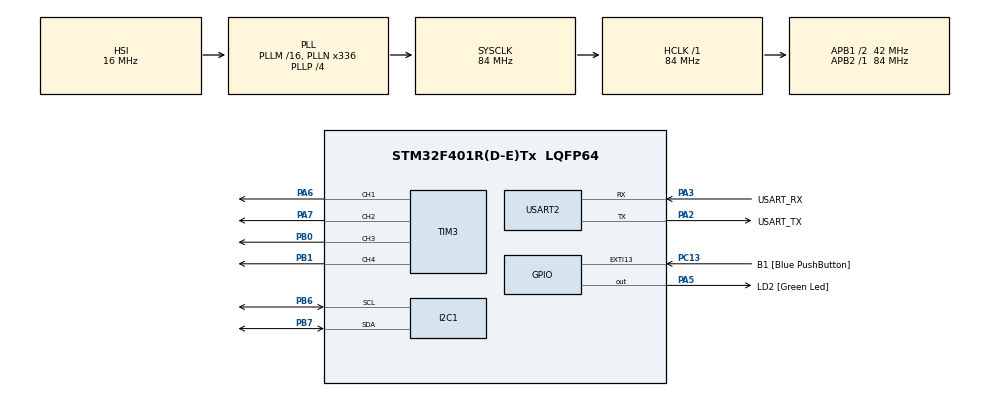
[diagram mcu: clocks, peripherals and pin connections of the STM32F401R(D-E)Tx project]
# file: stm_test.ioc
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I2C1.I2C_Mode=I2C_Fast
I2C1.NoStretchMode=I2C_NOSTRETCH_ENABLE
I2C1.OwnAddress=54
Mcu.Family=STM32F4
Mcu.Name=STM32F401R(D-E)Tx
Mcu.Package=LQFP64
NVIC.I2C1_ER_IRQn=true\:0\:0\:false\:false\:true\:true\:true\:true
NVIC.I2C1_EV_IRQn=true\:1\:0\:true\:false\:true\:true\:true\:true
NVIC.PriorityGroup=NVIC_PRIORITYGROUP_4
PA13.GPIO_Label=TMS
PA13.Mode=Trace_Asynchronous_SW
PA13.Signal=SYS_JTMS-SWDIO
PA14.GPIO_Label=TCK
PA14.Mode=Trace_Asynchronous_SW
PA14.Signal=SYS_JTCK-SWCLK
PA2.GPIO_Label=USART_TX
PA2.GPIO_Mode=GPIO_MODE_AF_PP
PA2.GPIO_PuPd=GPIO_NOPULL
PA2.GPIO_Speed=GPIO_SPEED_FREQ_LOW
PA2.Mode=Asynchronous
PA2.Signal=USART2_TX
PA3.GPIO_Label=USART_RX
PA3.GPIO_Mode=GPIO_MODE_AF_PP
PA3.GPIO_PuPd=GPIO_NOPULL
PA3.GPIO_Speed=GPIO_SPEED_FREQ_LOW
PA3.Mode=Asynchronous
PA3.Signal=USART2_RX
PA5.GPIO_Label=LD2 [Green Led]
PA5.GPIO_Mode=GPIO_MODE_OUTPUT_PP
PA5.GPIO_PuPd=GPIO_NOPULL
PA5.GPIO_Speed=GPIO_SPEED_FREQ_LOW
PA5.Signal=GPIO_Output
PA6.Signal=S_TIM3_CH1
PA7.Signal=S_TIM3_CH2
PB0.Signal=S_TIM3_CH3
PB1.Signal=S_TIM3_CH4
PB3.GPIO_Label=SWO
PB3.Mode=Trace_Asynchronous_SW
PB3.Signal=SYS_JTDO-SWO
PB6.GPIO_Pu=GPIO_PULLUP
PB6.Mode=I2C
PB6.Signal=I2C1_SCL
PB7.GPIO_Pu=GPIO_PULLUP
PB7.Mode=I2C
PB7.Signal=I2C1_SDA
PC13-ANTI_TAMP.GPIO_Label=B1 [Blue PushButton]
PC13-ANTI_TAMP.GPIO_ModeDefaultEXTI=GPIO_MODE_IT_FALLING
PC13-ANTI_TAMP.GPIO_PuPd=GPIO_NOPULL
PC13-ANTI_TAMP.Signal=GPXTI13
PC14-OSC32_IN.Mode=LSE-External-Oscillator
PC14-OSC32_IN.Signal=RCC_OSC32_IN
PC15-OSC32_OUT.Mode=LSE-External-Oscillator
PC15-OSC32_OUT.Signal=RCC_OSC32_OUT
PH0\ -\ OSC_IN.Mode=HSE-External-Clock-Source
PH0\ -\ OSC_IN.Signal=RCC_OSC_IN
PH1\ -\ OSC_OUT.Mode=HSE-External-Clock-Source
PH1\ -\ OSC_OUT.Signal=RCC_OSC_OUT
ProjectManager.HeapSize=0x200
ProjectManager.StackSize=0x400
ProjectManager.TargetToolchain=CMake
RCC.48MHZClocksFreq_Value=48000000
RCC.AHBFreq_Value=84000000
RCC.APB1CLKDivider=RCC_HCLK_DIV2
RCC.APB1Freq_Value=42000000
RCC.APB1TimFreq_Value=84000000
RCC.APB2Freq_Value=84000000
RCC.APB2TimFreq_Value=84000000
RCC.CortexFreq_Value=84000000
RCC.HCLKFreq_Value=84000000
RCC.HSE_VALUE=8000000
RCC.HSI_VALUE=16000000
RCC.PLLN=336
RCC.PLLP=RCC_PLLP_DIV4
RCC.PLLQ=7
RCC.SYSCLKFreq_VALUE=84000000
RCC.SYSCLKSource=RCC_SYSCLKSOURCE_PLLCLK
RCC.VCOOutputFreq_Value=336000000
SH.S_TIM3_CH1.0=TIM3_CH1,PWM Generation1 CH1
SH.S_TIM3_CH2.0=TIM3_CH2,PWM Generation2 CH2
SH.S_TIM3_CH3.0=TIM3_CH3,PWM Generation3 CH3
SH.S_TIM3_CH4.0=TIM3_CH4,PWM Generation4 CH4
TIM3.Channel-PWM\ Generation1\ CH1=TIM_CHANNEL_1
TIM3.Channel-PWM\ Generation2\ CH2=TIM_CHANNEL_2
TIM3.Channel-PWM\ Generation3\ CH3=TIM_CHANNEL_3
TIM3.Channel-PWM\ Generation4\ CH4=TIM_CHANNEL_4
USART2.VirtualMode=VM_ASYNC
board=NUCLEO-F401RE

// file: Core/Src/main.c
/* USER CODE BEGIN Header */
/**
  ******************************************************************************
  * @file           : main.c
  * @brief          : Main program body
  ******************************************************************************
  * @attention
  *
  * Copyright (c) 2026 STMicroelectronics.
  * All rights reserved.
  *
  * This software is licensed under terms that can be found in the LICENSE file
  * in the root directory of this software component.
  * If no LICENSE file comes with this software, it is provided AS-IS.
  *
  ******************************************************************************
  */
/* USER CODE END Header */
#include "main.h"

I2C_HandleTypeDef hi2c1;

TIM_HandleTypeDef htim3;

UART_HandleTypeDef huart2;

/* USER CODE BEGIN PV */
uint8_t i2c_buffer[I2C_BUFFERSIZE];

enum state system_state = DISARMED;
/* USER CODE END PV */

void SystemClock_Config(void);
static void MX_GPIO_Init(void);
static void MX_I2C1_Init(void);
static void MX_USART2_UART_Init(void);
static void MX_TIM3_Init(void);
/* USER CODE BEGIN PFP */
int servo_op(enum servo_command com, uint8_t num);
/* USER CODE END PFP */

int main(void)
{

  /* MCU Configuration--------------------------------------------------------*/

  /* Reset of all peripherals, Initializes the Flash interface and the Systick. */
  HAL_Init();

  /* Configure the system clock */
  SystemClock_Config();

  /* Initialize all configured peripherals */
  MX_GPIO_Init();
  MX_I2C1_Init();
  MX_USART2_UART_Init();
  MX_TIM3_Init();
  /* USER CODE BEGIN 2 */
  //i2c_buffer[0] = 0b11100000;
  /* USER CODE END 2 */

  /* Infinite loop */
  /* USER CODE BEGIN WHILE */
  while (1)
  {
    while (HAL_I2C_GetState(&hi2c1) != HAL_I2C_STATE_READY)
    {
    }
    HAL_I2C_Slave_Receive_IT(&hi2c1,(uint8_t*)i2c_buffer, I2C_BUFFERSIZE);
    /* USER CODE END WHILE */

  }
}

void SystemClock_Config(void)
{
  RCC_OscInitTypeDef RCC_OscInitStruct = {0};
  RCC_ClkInitTypeDef RCC_ClkInitStruct = {0};

  /** Configure the main internal regulator output voltage
  */
  __HAL_RCC_PWR_CLK_ENABLE();
  __HAL_PWR_VOLTAGESCALING_CONFIG(PWR_REGULATOR_VOLTAGE_SCALE2);

  /** Initializes the RCC Oscillators according to the specified parameters
  * in the RCC_OscInitTypeDef structure.
  */
  RCC_OscInitStruct.OscillatorType = RCC_OSCILLATORTYPE_HSI;
  RCC_OscInitStruct.HSIState = RCC_HSI_ON;
  RCC_OscInitStruct.HSICalibrationValue = RCC_HSICALIBRATION_DEFAULT;
  RCC_OscInitStruct.PLL.PLLState = RCC_PLL_ON;
  RCC_OscInitStruct.PLL.PLLSource = RCC_PLLSOURCE_HSI;
  RCC_OscInitStruct.PLL.PLLM = 16;
  RCC_OscInitStruct.PLL.PLLN = 336;
  RCC_OscInitStruct.PLL.PLLP = RCC_PLLP_DIV4;
  RCC_OscInitStruct.PLL.PLLQ = 7;
  if (HAL_RCC_OscConfig(&RCC_OscInitStruct) != HAL_OK)
  {
    Error_Handler();
  }

  /** Initializes the CPU, AHB and APB buses clocks
  */
  RCC_ClkInitStruct.ClockType = RCC_CLOCKTYPE_HCLK|RCC_CLOCKTYPE_SYSCLK
                              |RCC_CLOCKTYPE_PCLK1|RCC_CLOCKTYPE_PCLK2;
  RCC_ClkInitStruct.SYSCLKSource = RCC_SYSCLKSOURCE_PLLCLK;
  RCC_ClkInitStruct.AHBCLKDivider = RCC_SYSCLK_DIV1;
  RCC_ClkInitStruct.APB1CLKDivider = RCC_HCLK_DIV2;
  RCC_ClkInitStruct.APB2CLKDivider = RCC_HCLK_DIV1;

  if (HAL_RCC_ClockConfig(&RCC_ClkInitStruct, FLASH_LATENCY_2) != HAL_OK)
  {
    Error_Handler();
  }
}

static void MX_I2C1_Init(void)
{

  hi2c1.Instance = I2C1;
  hi2c1.Init.ClockSpeed = 400000;
  hi2c1.Init.DutyCycle = I2C_DUTYCYCLE_2;
  hi2c1.Init.OwnAddress1 = 108;
  hi2c1.Init.AddressingMode = I2C_ADDRESSINGMODE_7BIT;
  hi2c1.Init.DualAddressMode = I2C_DUALADDRESS_DISABLE;
  hi2c1.Init.OwnAddress2 = 0;
  hi2c1.Init.GeneralCallMode = I2C_GENERALCALL_DISABLE;
  hi2c1.Init.NoStretchMode = I2C_NOSTRETCH_ENABLE;
  if (HAL_I2C_Init(&hi2c1) != HAL_OK)
  {
    Error_Handler();
  }

}

static void MX_TIM3_Init(void)
{

  TIM_MasterConfigTypeDef sMasterConfig = {0};
  TIM_OC_InitTypeDef sConfigOC = {0};

  htim3.Instance = TIM3;
  htim3.Init.Prescaler = 0;
  htim3.Init.CounterMode = TIM_COUNTERMODE_UP;
  htim3.Init.Period = 65535;
  htim3.Init.ClockDivision = TIM_CLOCKDIVISION_DIV1;
  htim3.Init.AutoReloadPreload = TIM_AUTORELOAD_PRELOAD_DISABLE;
  if (HAL_TIM_PWM_Init(&htim3) != HAL_OK)
  {
    Error_Handler();
  }
  sMasterConfig.MasterOutputTrigger = TIM_TRGO_RESET;
  sMasterConfig.MasterSlaveMode = TIM_MASTERSLAVEMODE_DISABLE;
  if (HAL_TIMEx_MasterConfigSynchronization(&htim3, &sMasterConfig) != HAL_OK)
  {
    Error_Handler();
  }
  sConfigOC.OCMode = TIM_OCMODE_PWM1;
  sConfigOC.Pulse = 0;
  sConfigOC.OCPolarity = TIM_OCPOLARITY_HIGH;
  sConfigOC.OCFastMode = TIM_OCFAST_DISABLE;
  if (HAL_TIM_PWM_ConfigChannel(&htim3, &sConfigOC, TIM_CHANNEL_1) != HAL_OK)
  {
    Error_Handler();
  }
  if (HAL_TIM_PWM_ConfigChannel(&htim3, &sConfigOC, TIM_CHANNEL_2) != HAL_OK)
  {
    Error_Handler();
  }
  if (HAL_TIM_PWM_ConfigChannel(&htim3, &sConfigOC, TIM_CHANNEL_3) != HAL_OK)
  {
    Error_Handler();
  }
  if (HAL_TIM_PWM_ConfigChannel(&htim3, &sConfigOC, TIM_CHANNEL_4) != HAL_OK)
  {
    Error_Handler();
  }
  HAL_TIM_MspPostInit(&htim3);

}

static void MX_USART2_UART_Init(void)
{

  huart2.Instance = USART2;
  huart2.Init.BaudRate = 115200;
  huart2.Init.WordLength = UART_WORDLENGTH_8B;
  huart2.Init.StopBits = UART_STOPBITS_1;
  huart2.Init.Parity = UART_PARITY_NONE;
  huart2.Init.Mode = UART_MODE_TX_RX;
  huart2.Init.HwFlowCtl = UART_HWCONTROL_NONE;
  huart2.Init.OverSampling = UART_OVERSAMPLING_16;
  if (HAL_UART_Init(&huart2) != HAL_OK)
  {
    Error_Handler();
  }

}

static void MX_GPIO_Init(void)
{
  GPIO_InitTypeDef GPIO_InitStruct = {0};

  /* GPIO Ports Clock Enable */
  __HAL_RCC_GPIOC_CLK_ENABLE();
  __HAL_RCC_GPIOH_CLK_ENABLE();
  __HAL_RCC_GPIOA_CLK_ENABLE();
  __HAL_RCC_GPIOB_CLK_ENABLE();

  /*Configure GPIO pin Output Level */
  HAL_GPIO_WritePin(LD2_GPIO_Port, LD2_Pin, GPIO_PIN_RESET);

  /*Configure GPIO pin : B1_Pin */
  GPIO_InitStruct.Pin = B1_Pin;
  GPIO_InitStruct.Mode = GPIO_MODE_IT_FALLING;
  GPIO_InitStruct.Pull = GPIO_NOPULL;
  HAL_GPIO_Init(B1_GPIO_Port, &GPIO_InitStruct);

  /*Configure GPIO pin : LD2_Pin */
  GPIO_InitStruct.Pin = LD2_Pin;
  GPIO_InitStruct.Mode = GPIO_MODE_OUTPUT_PP;
  GPIO_InitStruct.Pull = GPIO_NOPULL;
  GPIO_InitStruct.Speed = GPIO_SPEED_FREQ_LOW;
  HAL_GPIO_Init(LD2_GPIO_Port, &GPIO_InitStruct);

}

/* USER CODE BEGIN 4 */
int servo_op(enum servo_command com, uint8_t num){

  if(system_state == DISARMED){
    return 2;
  }

  // input check
  if(num > 3){
    return 1;
  }

  uint8_t channel;

  switch (num){
    case 0:
      channel = TIM_CHANNEL_1;
      break;
    case 1:
      channel = TIM_CHANNEL_2;
      break;
    case 2:
      channel = TIM_CHANNEL_3;
      break;
    case 3:
      channel = TIM_CHANNEL_4;
      break;
  }

  TIM3->CCR1 = (uint32_t)(com * (TIM3->ARR + 1) ) / 100; // calculate duty cycle HIGH time from %

  HAL_GPIO_WritePin(GPIOA,LD2_Pin,GPIO_PIN_SET);
  HAL_TIM_PWM_Start(&htim3,channel);
  HAL_Delay(1000);
  HAL_TIM_PWM_Stop(&htim3,channel);
  HAL_GPIO_WritePin(GPIOA,LD2_Pin,GPIO_PIN_RESET);

  return 0;
}

void HAL_I2C_SlaveRxCpltCallback(I2C_HandleTypeDef *hi2c1)
{
  if(i2c_buffer[0] >> 5 < 4){
      uint8_t com = i2c_buffer[0] >> 5; // extract bits 8,7 and 6
      switch (com)
      {
      case 0:
      // Arm
        system_state = ARMED;
        break;
      case 1:
      // Drop
        servo_op(OPEN,(i2c_buffer[0] & ~(7 << 5)) >> 3); // extract bits 5 and 4
        break;
      case 2:
        servo_op(CLOSE,(i2c_buffer[0] & ~(7 << 5)) >> 3); // extract bits 5 and 4
        break;
      case 3:
        system_state = DISARMED;
        break;
      }
    }
}
/* USER CODE END 4 */

void Error_Handler(void)
{
  /* USER CODE BEGIN Error_Handler_Debug */
  /* User can add his own implementation to report the HAL error return state */
  __disable_irq();
  while (1)
  {
    break;
  }
  /* USER CODE END Error_Handler_Debug */
}
